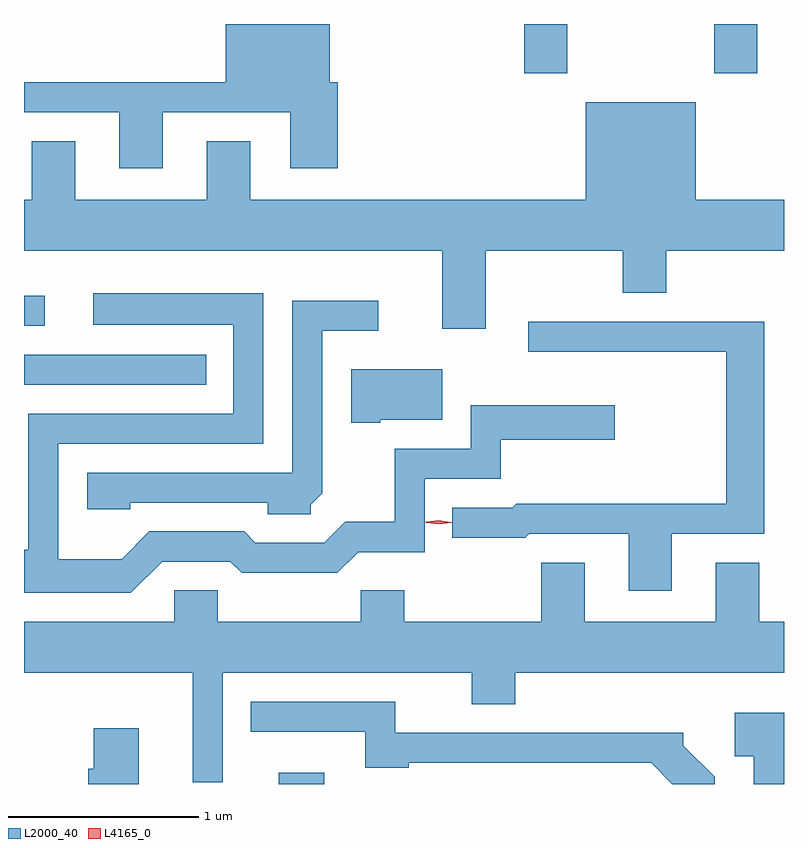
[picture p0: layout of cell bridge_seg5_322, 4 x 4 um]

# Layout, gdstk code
import gdstk
lib = gdstk.Library(unit=1e-6, precision=1e-09)
def R(c, l, rs):  # rectangles x0, y0, x1, y1
    for r in rs: c.add(gdstk.rectangle(r[:2], r[2:], *l))
def P(c, l, *ps):  # polygons
    for p in ps: c.add(gdstk.Polygon(p, *l))
L2000_40 = (2000, 40)
L4165_0 = (4165, 0)

bridge_seg5_322 = lib.new_cell('bridge_seg5_322')
R(bridge_seg5_322, L2000_40, [(804.941,1442.89,805.178,1442.949), (803.599,1444.991,804.558,1445.149), (803.599,1445.301,803.708,1445.459), (806.231,1446.631,806.459,1446.89), (807.231,1446.631,807.459,1446.89)])
P(bridge_seg5_322, L2000_40, [(804.329,1446.426),(805.001,1446.426),(805.001,1446.131),(805.249,1446.131),(805.249,1446.584),(805.209,1446.584),(805.209,1446.89),(804.661,1446.89),(804.661,1446.584),(803.599,1446.584),(803.599,1446.426),(804.101,1446.426),(804.101,1446.131),(804.329,1446.131)],
  [(806.029,1445.696),(806.751,1445.696),(806.751,1445.476),(806.979,1445.476),(806.979,1445.696),(807.599,1445.696),(807.599,1445.964),(807.134,1445.964),(807.134,1446.479),(806.556,1446.479),(806.556,1445.964),(804.789,1445.964),(804.789,1446.274),(804.561,1446.274),(804.561,1445.964),(803.869,1445.964),(803.869,1446.274),(803.641,1446.274),(803.641,1445.964),(803.599,1445.964),(803.599,1445.696),(805.801,1445.696),(805.801,1445.286),(806.029,1445.286)],
  [(804.327,1444.061),(804.684,1444.061),(804.744,1444.001),(805.247,1444.001),(805.357,1444.111),(805.709,1444.111),(805.709,1444.496),(806.109,1444.496),(806.109,1444.701),(806.709,1444.701),(806.709,1444.884),(805.951,1444.884),(805.951,1444.654),(805.551,1444.654),(805.551,1444.269),(805.289,1444.269),(805.179,1444.159),(804.817,1444.159),(804.757,1444.219),(804.259,1444.219),(804.114,1444.074),(803.779,1444.074),(803.779,1444.681),(804.859,1444.681),(804.859,1445.474),(803.963,1445.474),(803.963,1445.306),(804.701,1445.306),(804.701,1444.839),(803.621,1444.839),(803.621,1444.124),(803.599,1444.124),(803.599,1443.896),(804.162,1443.896)],
  [(805.109,1444.359),(805.169,1444.419),(805.169,1445.276),(805.463,1445.276),(805.463,1445.434),(805.011,1445.434),(805.011,1444.529),(803.931,1444.529),(803.931,1444.336),(804.159,1444.336),(804.159,1444.371),(804.881,1444.371),(804.881,1444.311),(805.109,1444.311)],
  [(807.009,1444.206),(807.494,1444.206),(807.494,1445.324),(806.253,1445.324),(806.253,1445.166),(807.296,1445.166),(807.296,1444.364),(806.189,1444.364),(806.169,1444.344),(805.853,1444.344),(805.853,1444.186),(806.237,1444.186),(806.257,1444.206),(806.781,1444.206),(806.781,1443.906),(807.009,1443.906)],
  [(805.475,1444.806),(805.799,1444.806),(805.799,1445.074),(805.321,1445.074),(805.321,1444.791),(805.475,1444.791)],
  [(804.644,1443.476),(805.956,1443.476),(805.956,1443.311),(806.184,1443.311),(806.184,1443.476),(807.599,1443.476),(807.599,1443.744),(807.469,1443.744),(807.469,1444.054),(807.241,1444.054),(807.241,1443.744),(806.549,1443.744),(806.549,1444.054),(806.321,1444.054),(806.321,1443.744),(805.599,1443.744),(805.599,1443.909),(805.371,1443.909),(805.371,1443.744),(804.619,1443.744),(804.619,1443.909),(804.391,1443.909),(804.391,1443.744),(803.599,1443.744),(803.599,1443.476),(804.486,1443.476),(804.486,1442.898),(804.644,1442.898)],
  [(807.234,1442.927),(807.069,1443.092),(807.069,1443.159),(805.554,1443.159),(805.554,1443.324),(804.793,1443.324),(804.793,1443.166),(805.396,1443.166),(805.396,1442.976),(805.624,1442.976),(805.624,1443.001),(806.899,1443.001),(807.01,1442.89),(807.234,1442.89)],
  [(807.599,1443.264),(807.341,1443.264),(807.341,1443.036),(807.441,1443.036),(807.441,1442.89),(807.599,1442.89)],
  [(804.204,1443.184),(803.966,1443.184),(803.966,1442.969),(803.936,1442.969),(803.936,1442.89),(804.204,1442.89)])
P(bridge_seg5_322, L4165_0, [(805.782,1444.258),(805.716,1444.268),(805.716,1444.268),(805.716,1444.269),(805.782,1444.278),(805.847,1444.268),(805.847,1444.267),(805.847,1444.267)],
  [(805.782,1444.256),(805.714,1444.266),(805.713,1444.267),(805.714,1444.267),(805.782,1444.276),(805.85,1444.265),(805.85,1444.265),(805.85,1444.264)])

lib.write_gds('bridge_seg5_322.gds')
